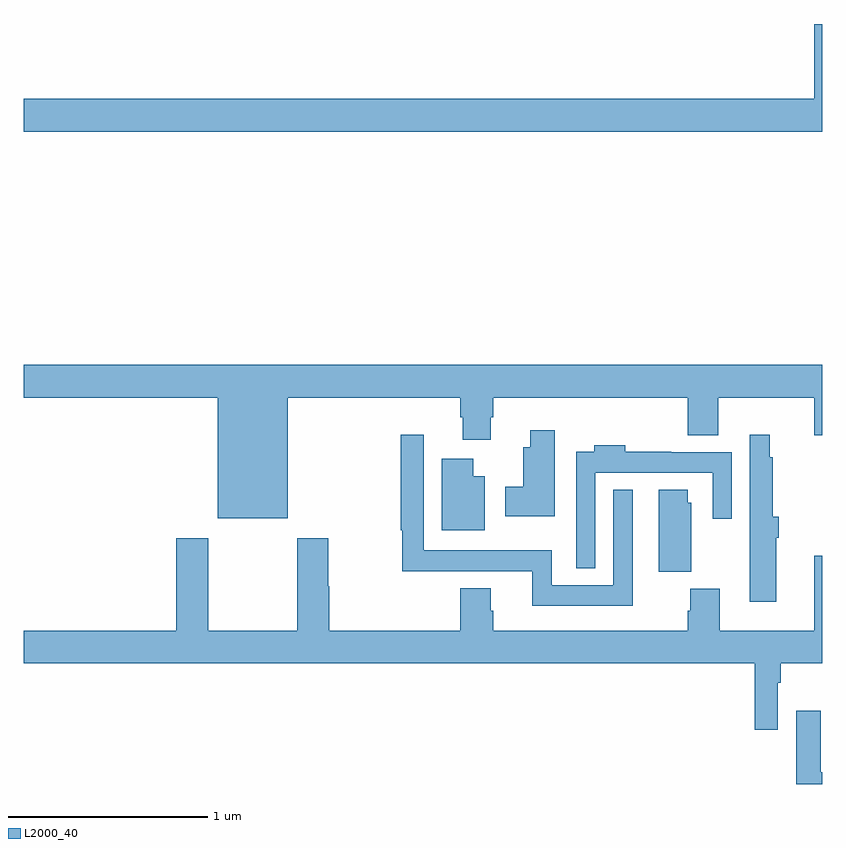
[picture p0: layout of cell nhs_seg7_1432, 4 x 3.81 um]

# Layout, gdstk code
import gdstk
lib = gdstk.Library(unit=1e-6, precision=1e-09)
def P(c, l, *ps):  # polygons
    for p in ps: c.add(gdstk.Polygon(p, *l))
L2000_40 = (2000, 40)

nhs_seg7_1432 = lib.new_cell('nhs_seg7_1432')
P(nhs_seg7_1432, L2000_40, [(213,1015.807),(212.96,1015.807),(212.96,1015.432),(209,1015.432),(209,1015.268),(213,1015.268)],
  [(210.322,1013.936),(211.187,1013.936),(211.187,1013.838),(211.199,1013.838),(211.199,1013.724),(211.339,1013.724),(211.339,1013.838),(211.352,1013.838),(211.352,1013.936),(212.327,1013.936),(212.327,1013.747),(212.479,1013.747),(212.479,1013.936),(212.96,1013.936),(212.96,1013.748),(213,1013.748),(213,1014.1),(209,1014.1),(209,1013.936),(209.972,1013.936),(209.972,1013.33),(210.322,1013.33)],
  [(211.66,1013.773),(211.538,1013.773),(211.538,1013.686),(211.502,1013.686),(211.502,1013.49),(211.413,1013.49),(211.413,1013.342),(211.66,1013.342)],
  [(212.05,1013.473),(211.953,1013.473),(211.953,1012.996),(211.644,1012.996),(211.644,1013.17),(211.005,1013.17),(211.005,1013.749),(210.889,1013.749),(210.889,1013.27),(210.897,1013.27),(210.897,1013.066),(211.547,1013.066),(211.547,1012.892),(212.05,1012.892)],
  [(212.77,1013.234),(212.783,1013.234),(212.783,1013.338),(212.753,1013.338),(212.753,1013.636),(212.736,1013.636),(212.736,1013.749),(212.637,1013.749),(212.637,1013.234),(212.636,1013.234),(212.636,1012.914),(212.77,1012.914)],
  [(211.863,1013.558),(212.451,1013.558),(212.451,1013.328),(212.547,1013.328),(212.547,1013.662),(212.243,1013.662),(212.243,1013.665),(212.012,1013.665),(212.012,1013.698),(211.859,1013.698),(211.859,1013.665),(211.767,1013.665),(211.767,1013.081),(211.863,1013.081)],
  [(211.309,1013.542),(211.252,1013.542),(211.252,1013.629),(211.094,1013.629),(211.094,1013.27),(211.309,1013.27)],
  [(212.344,1013.409),(212.326,1013.409),(212.326,1013.473),(212.18,1013.473),(212.18,1013.062),(212.344,1013.062)],
  [(212.778,1012.508),(212.791,1012.508),(212.791,1012.604),(213,1012.604),(213,1013.143),(212.96,1013.143),(212.96,1012.768),(212.487,1012.768),(212.487,1012.977),(212.339,1012.977),(212.339,1012.868),(212.327,1012.868),(212.327,1012.768),(211.352,1012.768),(211.352,1012.869),(211.339,1012.869),(211.339,1012.981),(211.187,1012.981),(211.187,1012.768),(210.53,1012.768),(210.53,1012.991),(210.525,1012.991),(210.525,1013.23),(210.37,1013.23),(210.37,1012.768),(209.925,1012.768),(209.925,1013.23),(209.765,1013.23),(209.765,1012.768),(209,1012.768),(209,1012.604),(212.662,1012.604),(212.662,1012.272),(212.778,1012.272)],
  [(213,1012.06),(212.992,1012.06),(212.992,1012.366),(212.87,1012.366),(212.87,1012),(213,1012)])

lib.write_gds('nhs_seg7_1432.gds')
